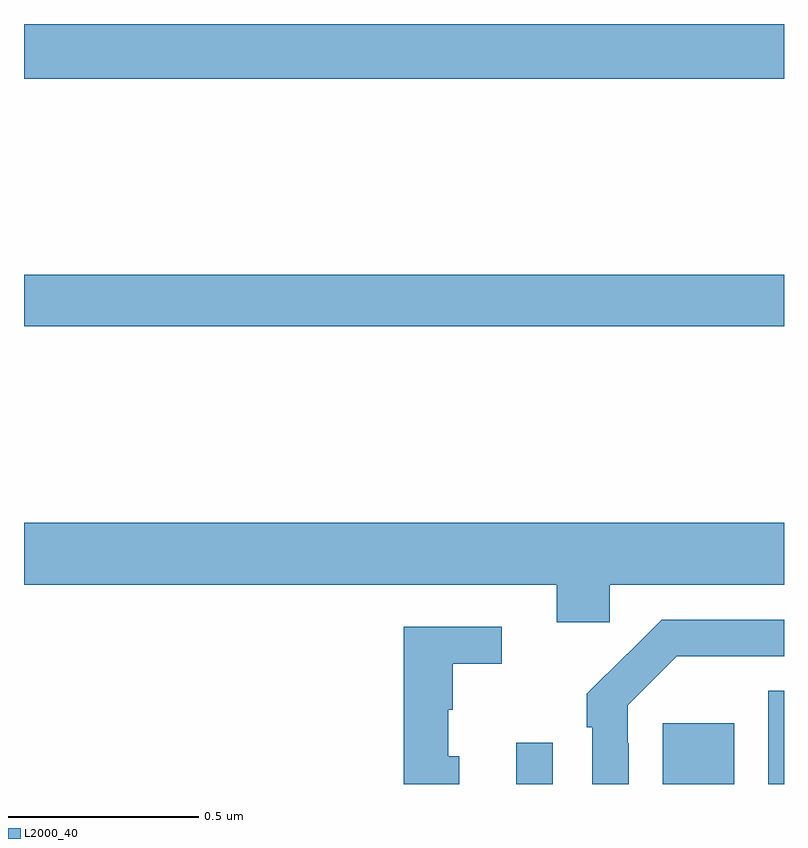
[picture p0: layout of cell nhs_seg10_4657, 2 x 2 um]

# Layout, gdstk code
import gdstk
lib = gdstk.Library(unit=1e-6, precision=1e-09)
def R(c, l, rs):  # rectangles x0, y0, x1, y1
    for r in rs: c.add(gdstk.rectangle(r[:2], r[2:], *l))
def P(c, l, *ps):  # polygons
    for p in ps: c.add(gdstk.Polygon(p, *l))
L2000_40 = (2000, 40)

nhs_seg10_4657 = lib.new_cell('nhs_seg10_4657')
R(nhs_seg10_4657, L2000_40, [(170.295,1258.5,170.391,1258.609), (170.681,1258.5,170.869,1258.66), (170.958,1258.5,171,1258.746), (169,1259.704,171,1259.84), (169,1260.356,171,1260.5)])
P(nhs_seg10_4657, L2000_40, [(170.541,1259.024),(171,1259.024),(171,1259.188),(169,1259.188),(169,1259.024),(170.402,1259.024),(170.402,1258.926),(170.541,1258.926)],
  [(170.592,1258.607),(170.589,1258.607),(170.589,1258.707),(170.718,1258.836),(171,1258.836),(171,1258.932),(170.678,1258.932),(170.587,1258.841),(170.586,1258.842),(170.481,1258.737),(170.481,1258.649),(170.496,1258.649),(170.496,1258.5),(170.592,1258.5)],
  [(170.146,1258.573),(170.117,1258.573),(170.117,1258.695),(170.128,1258.695),(170.128,1258.816),(170.257,1258.816),(170.257,1258.914),(169.999,1258.914),(169.999,1258.5),(170.146,1258.5)])

lib.write_gds('nhs_seg10_4657.gds')
